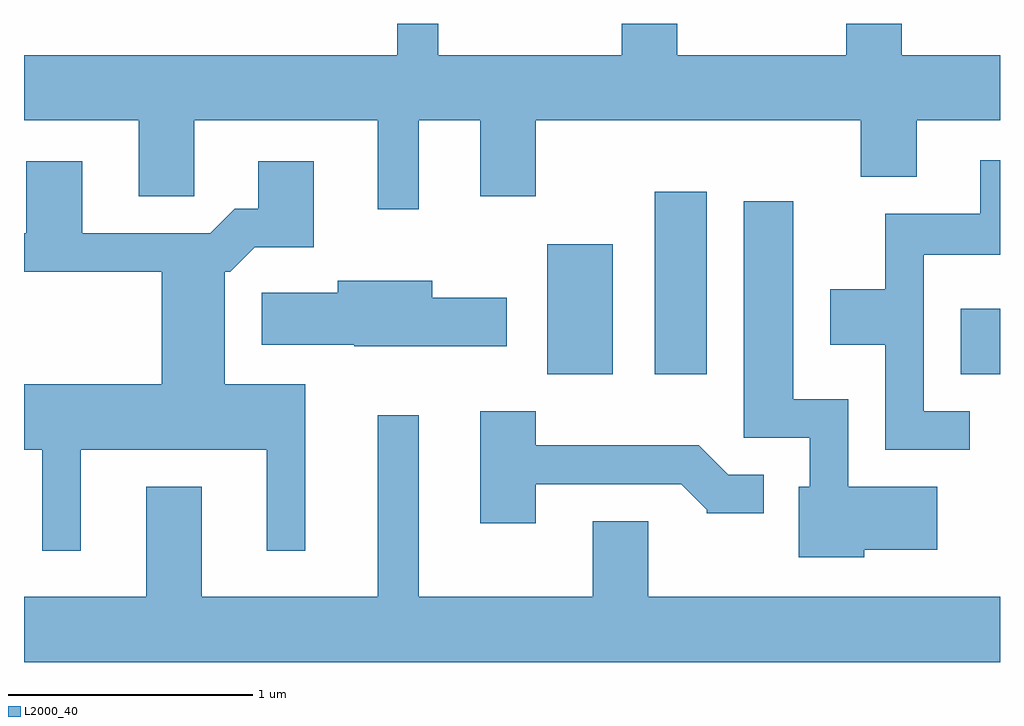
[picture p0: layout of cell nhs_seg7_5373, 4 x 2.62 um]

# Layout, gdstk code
import gdstk
lib = gdstk.Library(unit=1e-6, precision=1e-09)
def R(c, l, rs):  # rectangles x0, y0, x1, y1
    for r in rs: c.add(gdstk.rectangle(r[:2], r[2:], *l))
def P(c, l, *ps):  # polygons
    for p in ps: c.add(gdstk.Polygon(p, *l))
L2000_40 = (2000, 40)

nhs_seg7_5373 = lib.new_cell('nhs_seg7_5373')
R(nhs_seg7_5373, L2000_40, [(351.756,1728.816,352.024,1729.349), (352.196,1728.816,352.409,1729.564), (353.451,1728.816,353.611,1729.084)])
P(nhs_seg7_5373, L2000_40, [(351.229,1729.856),(351.481,1729.856),(351.481,1729.546),(351.709,1729.546),(351.709,1729.856),(353.041,1729.856),(353.041,1729.626),(353.269,1729.626),(353.269,1729.856),(353.611,1729.856),(353.611,1730.124),(353.209,1730.124),(353.209,1730.252),(352.981,1730.252),(352.981,1730.124),(352.289,1730.124),(352.289,1730.252),(352.061,1730.252),(352.061,1730.124),(351.309,1730.124),(351.309,1730.252),(351.141,1730.252),(351.141,1730.124),(349.611,1730.124),(349.611,1729.856),(350.081,1729.856),(350.081,1729.546),(350.309,1729.546),(350.309,1729.856),(351.061,1729.856),(351.061,1729.493),(351.229,1729.493)],
  [(353.488,1728.664),(353.299,1728.664),(353.299,1729.306),(353.611,1729.306),(353.611,1729.694),(353.531,1729.694),(353.531,1729.474),(353.141,1729.474),(353.141,1729.164),(352.916,1729.164),(352.916,1728.936),(353.141,1728.936),(353.141,1728.506),(353.488,1728.506)],
  [(349.844,1728.506),(350.606,1728.506),(350.606,1728.093),(350.764,1728.093),(350.764,1728.774),(350.434,1728.774),(350.434,1729.236),(350.457,1729.236),(350.557,1729.336),(350.799,1729.336),(350.799,1729.689),(350.571,1729.689),(350.571,1729.494),(350.474,1729.494),(350.374,1729.394),(349.849,1729.394),(349.849,1729.689),(349.621,1729.689),(349.621,1729.394),(349.611,1729.394),(349.611,1729.236),(350.176,1729.236),(350.176,1728.774),(349.611,1728.774),(349.611,1728.506),(349.686,1728.506),(349.686,1728.093),(349.844,1728.093)],
  [(353.054,1728.096),(353.354,1728.096),(353.354,1728.354),(352.989,1728.354),(352.989,1728.714),(352.764,1728.714),(352.764,1729.524),(352.561,1729.524),(352.561,1728.556),(352.831,1728.556),(352.831,1728.354),(352.786,1728.354),(352.786,1728.066),(353.054,1728.066)],
  [(351.589,1729.129),(351.284,1729.129),(351.284,1729.199),(350.896,1729.199),(350.896,1729.149),(350.586,1729.149),(350.586,1728.936),(350.965,1728.936),(350.965,1728.931),(351.589,1728.931)],
  [(351.709,1728.366),(352.304,1728.366),(352.41,1728.26),(352.41,1728.246),(352.643,1728.246),(352.643,1728.404),(352.497,1728.404),(352.377,1728.524),(351.709,1728.524),(351.709,1728.664),(351.481,1728.664),(351.481,1728.206),(351.709,1728.206)],
  [(353.611,1727.904),(352.169,1727.904),(352.169,1728.214),(351.941,1728.214),(351.941,1727.904),(351.229,1727.904),(351.229,1728.648),(351.061,1728.648),(351.061,1727.904),(350.339,1727.904),(350.339,1728.354),(350.111,1728.354),(350.111,1727.904),(349.611,1727.904),(349.611,1727.636),(353.611,1727.636)])

lib.write_gds('nhs_seg7_5373.gds')
